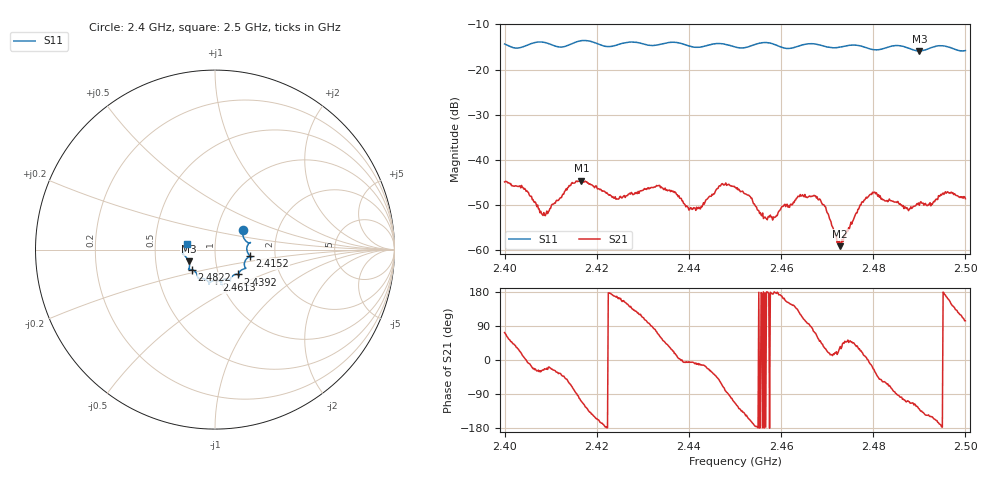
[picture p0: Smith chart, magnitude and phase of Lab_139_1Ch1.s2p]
# Hz S RI R 50
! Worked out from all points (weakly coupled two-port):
!   601 points, 2.4 GHz to 2.5 GHz, reference 50 ohm
!   highest |S21| = -44.61 dB at 2.4167 GHz (marker M1); lowest = -59.1 dB at 2.4728 GHz (marker M2)
!   lowest |S11| = -15.9 dB at 2.49 GHz (marker M3), VSWR 1.38, Z = 36.9 - j4.86 ohm
!   |S11| at or under -10 dB: start of sweep to end of sweep
!   S12 and S22 are empty: the file has one direction only
!   S11 on the Smith chart (normalised r, x): 2.4 GHz: 1.33, +0.31; 2.4152 GHz: 1.48, -0.11; 2.4392 GHz: 1.23, -0.36; 2.4613 GHz: 0.96, -0.34; 2.4822 GHz: 0.76, -0.17; 2.5 GHz: 0.72, +0.05
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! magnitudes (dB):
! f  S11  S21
! 2.4 GHz  -14.4  -44.9
! 2.4042 GHz  -14.9  -46.5
! 2.4085 GHz  -14.0  -51.7
! 2.4152 GHz  -14.1  -45.1
! 2.4167 GHz  -13.6  -44.6
! 2.4243 GHz  -14.6  -48.7
! 2.4333 GHz  -14.5  -45.7
! 2.4392 GHz  -14.5  -49.9
! 2.442 GHz  -15.1  -50.7
! 2.447 GHz  -14.3  -45.4
! 2.45 GHz  -15.0  -46.1
! 2.4567 GHz  -14.0  -52.9
! 2.4613 GHz  -15.3  -49.8
! 2.4667 GHz  -14.3  -48.1
! 2.4692 GHz  -14.8  -49.9
! 2.4728 GHz  -15.0  -59.1
! 2.478 GHz  -15.0  -48.9
! 2.4822 GHz  -15.4  -48.8
! 2.4833 GHz  -15.0  -49.0
! 2.49 GHz  -15.9  -50.0
! 2.496 GHz  -14.9  -47.2
! 2.5 GHz  -15.8  -48.6
